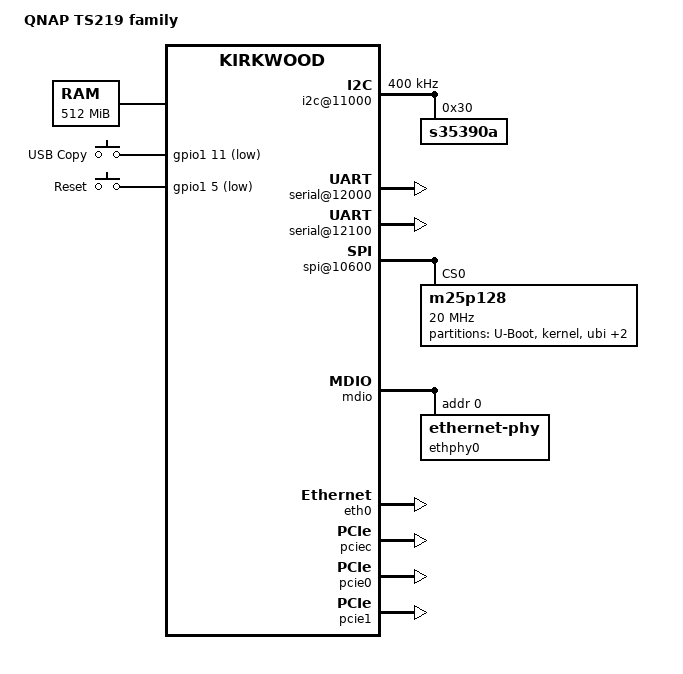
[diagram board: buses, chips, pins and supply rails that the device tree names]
// SPDX-License-Identifier: GPL-2.0
/dts-v1/;

#include "kirkwood.dtsi"
#include "kirkwood-6282.dtsi"

/ {
        model = "QNAP TS219 family";
        compatible = "qnap,ts219", "marvell,kirkwood-88f6281", "marvell,kirkwood";

        memory {
                device_type = "memory";
                reg = <0x00000000 0x20000000>;
        };

        chosen {
                bootargs = "console=ttyS0,115200n8";
                stdout-path = &uart0;
        };

        ocp@f1000000 {
                i2c@11000 {
                        status = "okay";
                        clock-frequency = <400000>;

                        s35390a: s35390a@30 {
                                compatible = "s35390a";
                                reg = <0x30>;
                        };
                };
                serial@12000 {
                        status = "okay";
                };
                serial@12100 {
                        status = "okay";
                };
                poweroff@12100 {
                        compatible = "qnap,power-off";
                        reg = <0x12100 0x100>;
                        clocks = <&gate_clk 7>;
                };
                spi@10600 {
                        status = "okay";

                        m25p128@0 {
                                #address-cells = <1>;
                                #size-cells = <1>;
                                compatible = "m25p128", "jedec,spi-nor";
                                reg = <0>;
                                spi-max-frequency = <20000000>;
                                mode = <0>;

                                partition@0 {
                                        reg = <0x00000000 0x00080000>;
                                        label = "U-Boot";
                                };

                                partition@200000 {
                                        reg = <0x00200000 0x00600000>;
                                        label = "kernel";
                                };

                                partition@600000 {
                                        reg = <0x00600000 0x00800000>;
                                        label = "ubi";
                                };
                                partition@40000 {
                                        reg = <0x00080000 0x00040000>;
                                        label = "U-Boot Config";
                                };
                                partition@c0000 {
                                        reg = <0x000c0000 0x00140000>;
                                        label = "NAS Config";
                                };
                        };
                };

		pinctrl: pin-controller@10000 {

			pinctrl-0 = <&pmx_ram_size &pmx_board_id>;
			pinctrl-names = "default";

			pmx_ram_size: pmx-ram-size {
				/* RAM: 0: 256 MB, 1: 512 MB */
				marvell,pins = "mpp36";
				marvell,function = "gpio";
			};
			pmx_reset_button: pmx-reset-button {
				marvell,pins = "mpp37";
				marvell,function = "gpio";
			};
			pmx_USB_copy_button: pmx-USB-copy-button {
				marvell,pins = "mpp43";
				marvell,function = "gpio";
			};
			pmx_board_id: pmx-board-id {
				/* 0: TS-11x, 1: TS-21x */
				marvell,pins = "mpp44";
				marvell,function = "gpio";
			};
		};
	};

	gpio_keys {
		compatible = "gpio-keys";
		#address-cells = <1>;
		#size-cells = <0>;
		pinctrl-0 = <&pmx_reset_button &pmx_USB_copy_button>;
		pinctrl-names = "default";

		copy {
			label = "USB Copy";
			linux,code = <KEY_COPY>;
			gpios = <&gpio1 11 GPIO_ACTIVE_LOW>;
		};
		reset {
			label = "Reset";
			linux,code = <KEY_RESTART>;
			gpios = <&gpio1 5 GPIO_ACTIVE_LOW>;
		};
	};
};

&mdio {
        status = "okay";

        ethphy0: ethernet-phy@X {
                /* overwrite reg property in board file */
        };
};

&eth0 {
        status = "okay";
        ethernet0-port@0 {
                phy-handle = <&ethphy0>;
        };
};

&pciec {
        status = "okay";
};

&pcie0 {
        status = "okay";
};

&rtc {
        /*
         * There is a s35390a available on the i2c bus, the internal rtc isn't
         * working (probably no crystal assembled).
         */
        status = "disabled";
};

&ethphy0 { reg = <0>; };

&pcie1 { status = "okay"; };
